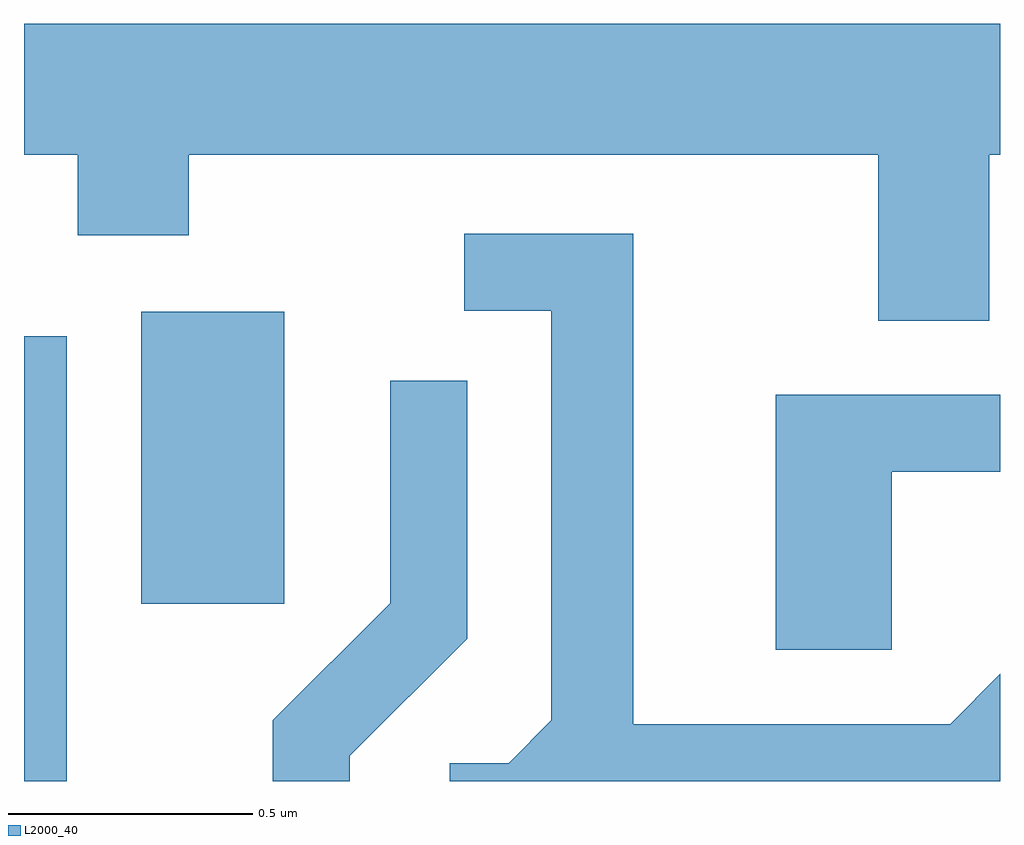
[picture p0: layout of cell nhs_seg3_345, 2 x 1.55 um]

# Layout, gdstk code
import gdstk
lib = gdstk.Library(unit=1e-6, precision=1e-09)
def R(c, l, rs):  # rectangles x0, y0, x1, y1
    for r in rs: c.add(gdstk.rectangle(r[:2], r[2:], *l))
def P(c, l, *ps):  # polygons
    for p in ps: c.add(gdstk.Polygon(p, *l))
L2000_40 = (2000, 40)

nhs_seg3_345 = lib.new_cell('nhs_seg3_345')
R(nhs_seg3_345, L2000_40, [(187.611,1186.892,187.699,1187.804), (187.851,1187.256,188.144,1187.854)])
P(nhs_seg3_345, L2000_40, [(189.589,1188.176),(189.611,1188.176),(189.611,1188.444),(187.611,1188.444),(187.611,1188.176),(187.721,1188.176),(187.721,1188.011),(187.949,1188.011),(187.949,1188.176),(189.361,1188.176),(189.361,1187.836),(189.589,1187.836)],
  [(189.611,1187.112),(189.509,1187.009),(188.859,1187.009),(188.859,1188.014),(188.513,1188.014),(188.513,1187.856),(188.691,1187.856),(188.691,1187.017),(188.604,1186.929),(188.483,1186.929),(188.483,1186.892),(189.611,1186.892)],
  [(188.279,1186.944),(188.519,1187.184),(188.519,1187.713),(188.361,1187.713),(188.361,1187.257),(188.121,1187.017),(188.121,1186.892),(188.279,1186.892)],
  [(189.389,1187.526),(189.611,1187.526),(189.611,1187.684),(189.151,1187.684),(189.151,1187.161),(189.389,1187.161)])

lib.write_gds('nhs_seg3_345.gds')
